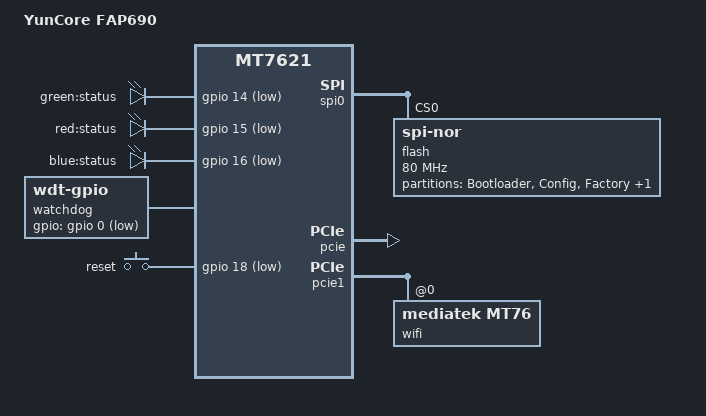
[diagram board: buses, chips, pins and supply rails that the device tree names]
// SPDX-License-Identifier: GPL-2.0-or-later OR MIT

#include "mt7621.dtsi"

#include <dt-bindings/gpio/gpio.h>
#include <dt-bindings/input/input.h>

/ {
	compatible = "yuncore,fap690", "mediatek,mt7621-soc";
	model = "YunCore FAP690";

	aliases {
		led-boot = &led_status_green;
		led-failsafe = &led_status_red;
		led-running = &led_status_green;
		led-upgrade = &led_status_red;
		label-mac-device = &gmac0;
	};

	chosen {
		bootargs = "console=ttyS0,115200";
	};

	leds {
		compatible = "gpio-leds";

		led_status_green: status_green {
			label = "green:status";
			gpios = <&gpio 14 GPIO_ACTIVE_LOW>;
		};

		led_status_red: status_red {
			label = "red:status";
			gpios = <&gpio 15 GPIO_ACTIVE_LOW>;
		};

		led_status_blue: status_blue {
			label = "blue:status";
			gpios = <&gpio 16 GPIO_ACTIVE_LOW>;
		};
	};

	watchdog {
		compatible = "linux,wdt-gpio";
		gpios = <&gpio 0 GPIO_ACTIVE_LOW>;
		hw_algo = "toggle";
		hw_margin_ms = <200>;
		always-running;
	};

	keys {
		compatible = "gpio-keys";

		reset {
			label = "reset";
			gpios = <&gpio 18 GPIO_ACTIVE_LOW>;
			linux,code = <KEY_RESTART>;
		};
	};
};

&spi0 {
	status = "okay";

	flash@0 {
		compatible = "jedec,spi-nor";
		reg = <0>;
		spi-max-frequency = <80000000>;
		m25p,fast-read;

		partitions {
			compatible = "fixed-partitions";
			#address-cells = <1>;
			#size-cells = <1>;

			partition@0 {
				label = "Bootloader";
				reg = <0x0 0x30000>;
				read-only;
			};

			partition@30000 {
				label = "Config";
				reg = <0x30000 0x10000>;
				read-only;
			};

			/* range 0x40000 to 0x50000 is empty in vendor
			 * firmware, so we do not use it either
			 */

			factory: partition@50000 {
				label = "Factory";
				reg = <0x50000 0x40000>;
				read-only;
			};

			partition@90000 {
				compatible = "denx,uimage";
				label = "firmware";
				reg = <0x90000 0xf70000>;
			};
		};
	};
};

&pcie {
	status = "okay";
};

&pcie1 {
	wifi@0,0 {
		compatible = "mediatek,mt76";
		reg = <0x0000 0 0 0 0>;
		mediatek,mtd-eeprom = <&factory 0x0>;
		mediatek,disable-radar-background;
	};
};

&gmac0 {
	nvmem-cells = <&macaddr_factory_0004>;
	nvmem-cell-names = "mac-address";
};

&switch0 {
	ports {
		port@4 {
			status = "okay";
			label = "lan";
		};
	};
};

&state_default {
	gpio {
		groups = "jtag", "wdt";
		function = "gpio";
	};
};

&factory {
	compatible = "nvmem-cells";
	#address-cells = <1>;
	#size-cells = <1>;

	macaddr_factory_0004: macaddr@0004 {
		reg = <0x0004 0x6>;
	};
};
